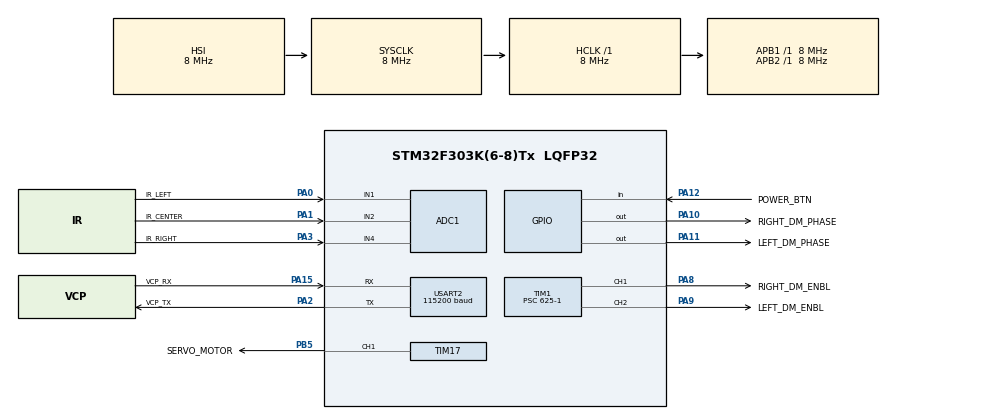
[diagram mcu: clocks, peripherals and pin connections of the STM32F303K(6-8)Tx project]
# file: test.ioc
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ADC1.Channel-0\#ChannelRegularConversion=ADC_CHANNEL_1
ADC1.ClockPrescaler=ADC_CLOCK_SYNC_PCLK_DIV1
ADC1.NbrOfConversionFlag=1
ADC1.Offset-0\#ChannelRegularConversion=0
ADC1.OffsetNumber-0\#ChannelRegularConversion=ADC_OFFSET_NONE
ADC1.Rank-0\#ChannelRegularConversion=1
ADC1.SamplingTime-0\#ChannelRegularConversion=ADC_SAMPLETIME_1CYCLE_5
ADC1.SubFamily=STM32F303x8
ADC1.master=1
Mcu.Family=STM32F3
Mcu.Name=STM32F303K(6-8)Tx
Mcu.Package=LQFP32
NVIC.PriorityGroup=NVIC_PRIORITYGROUP_4
PA0.GPIO_Label=IR_LEFT
PA0.Mode=IN1-Single-Ended
PA0.Signal=ADC1_IN1
PA1.GPIO_Label=IR_CENTER
PA1.Mode=IN2-Single-Ended
PA1.Signal=ADC1_IN2
PA10.GPIO_Label=RIGHT_DM_PHASE
PA10.Signal=GPIO_Output
PA11.GPIO_Label=LEFT_DM_PHASE
PA11.Signal=GPIO_Output
PA12.GPIO_Label=POWER_BTN
PA12.GPIO_PuPd=GPIO_PULLDOWN
PA12.Signal=GPIO_Input
PA13.GPIO_Label=SWDIO
PA13.Mode=Serial_Wire
PA13.Signal=SYS_JTMS-SWDIO
PA14.GPIO_Label=SWCLK
PA14.Mode=Serial_Wire
PA14.Signal=SYS_JTCK-SWCLK
PA15.GPIO_Label=VCP_RX
PA15.Mode=Asynchronous
PA15.Signal=USART2_RX
PA2.GPIO_Label=VCP_TX
PA2.Mode=Asynchronous
PA2.Signal=USART2_TX
PA3.GPIO_Label=IR_RIGHT
PA3.Mode=IN4-Single-Ended
PA3.Signal=ADC1_IN4
PA8.GPIO_Label=RIGHT_DM_ENBL
PA8.Signal=S_TIM1_CH1
PA9.GPIO_Label=LEFT_DM_ENBL
PA9.Signal=S_TIM1_CH2
PB5.GPIO_Label=SERVO_MOTOR
PB5.Signal=S_TIM17_CH1
ProjectManager.HeapSize=0x200
ProjectManager.StackSize=0x400
ProjectManager.TargetToolchain=STM32CubeIDE
RCC.AHBFreq_Value=8000000
RCC.APB1Freq_Value=8000000
RCC.APB2Freq_Value=8000000
RCC.CortexFreq_Value=8000000
RCC.HSE_VALUE=8000000
RCC.HSI_VALUE=8000000
RCC.SYSCLKFreq_VALUE=8000000
SH.S_TIM17_CH1.0=TIM17_CH1,PWM Generation1 CH1
SH.S_TIM1_CH1.0=TIM1_CH1,PWM Generation1 CH1
SH.S_TIM1_CH2.0=TIM1_CH2,PWM Generation2 CH2
TIM1.AutoReloadPreload=TIM_AUTORELOAD_PRELOAD_ENABLE
TIM1.Channel-PWM\ Generation1\ CH1=TIM_CHANNEL_1
TIM1.Channel-PWM\ Generation2\ CH2=TIM_CHANNEL_2
TIM1.Period=256-1
TIM1.Prescaler=625-1
TIM17.AutoReloadPreload=TIM_AUTORELOAD_PRELOAD_ENABLE
TIM17.Channel=TIM_CHANNEL_1
TIM17.OCMode_PWM=TIM_OCMODE_PWM1
TIM17.Period=20000-1
TIM17.Prescaler=8-1
USART2.BaudRate=115200
USART2.VirtualMode-Asynchronous=VM_ASYNC
VP_TIM17_VS_ClockSourceINT.Mode=Enable_Timer
VP_TIM1_VS_ClockSourceINT.Mode=Internal
board=NUCLEO-F303K8

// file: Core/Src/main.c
/* USER CODE BEGIN Header */
/**
  ******************************************************************************
  * @file           : main.c
  * @brief          : Main program body
  ******************************************************************************
  * @attention
  *
  * Copyright (c) 2022 STMicroelectronics.
  * All rights reserved.
  *
  * This software is licensed under terms that can be found in the LICENSE file
  * in the root directory of this software component.
  * If no LICENSE file comes with this software, it is provided AS-IS.
  *
  ******************************************************************************
  */
/* USER CODE END Header */
#include "main.h"

/* USER CODE BEGIN Includes */
#include <math.h>

/* USER CODE END Includes */

/* USER CODE BEGIN PD */
#define DISTANCE_MAX          150
#define DISTANCE_MIN          10
#define DISTANCE_THRESHOLD    10
#define MAX_SPEED             255
#define MIN_SPEED             125

/* USER CODE END PD */

 ADC_HandleTypeDef hadc1;

TIM_HandleTypeDef htim1;
TIM_HandleTypeDef htim17;

UART_HandleTypeDef huart2;

/* USER CODE BEGIN PV */

int block = 0;
int byteStream = 0;
int buttonState = 0;

int delay = 0;

/* USER CODE END PV */

void SystemClock_Config(void);
static void MX_GPIO_Init(void);
static void MX_USART2_UART_Init(void);
static void MX_TIM1_Init(void);
static void MX_ADC1_Init(void);
static void MX_TIM17_Init(void);
/* USER CODE BEGIN PFP */

static void setInitialState();
static void setMotorSpeed(int32_t left, int32_t right);

/* USER CODE END PFP */

/* USER CODE BEGIN 0 */

/*
 * Toggle Robot Start Button
 */
int togglePowerBtn(int powerBtnState) {
	if (powerBtnState) {
		block = 0;
		if (!byteStream && buttonState) {
		  byteStream = 1;
		  buttonState = 0;
		  return buttonState;
		} else if (!byteStream && !buttonState) {
		  byteStream = 1;
		  buttonState = 1;
		  return buttonState;
		} else {
		  return buttonState;
		}
	} else {
		byteStream = 0;
		return buttonState;
	}
}

/*
 * Read IR sensor value:
 * Update ADC channel config
 * Start, convert and read sensor value
 */
uint16_t ADC_Read(ADC_HandleTypeDef* hadc, uint8_t channel)
{
  ADC_ChannelConfTypeDef sConfig;

  sConfig.Channel = channel;
  sConfig.Rank = 1;
  sConfig.SamplingTime = ADC_SAMPLETIME_1CYCLE_5;

  HAL_ADC_ConfigChannel(hadc, &sConfig);

  HAL_ADC_Start(hadc);
  HAL_ADC_PollForConversion(hadc, 10);

  uint64_t sum = 0;
  for (int i = 0; i < 3; i++) {
  	sum+= HAL_ADC_GetValue(hadc);
  }

  sum = sum / 3;

  return sum;
}

/*
 * Set Initial State:
 * Set speed to highest settings
 */
void setInitialState()
{
	HAL_Delay(5000);
	setMotorSpeed(-255, -255);
	HAL_Delay(2000);
}

/*
 * Get Distance:
 * Map ADC values to distance (in cm).
 * First we transform analog output to voltage values
 *
 * Then based on the IR sensor datasheet graph, we determine
 * an equation to get accurate distance levels in centimeters.
 */

float getDistance(float adcVal)
{
  float voltageVal = (3.3 * adcVal) / 4096;

  float max_distance = DISTANCE_MAX;
  float min_distance = DISTANCE_MIN;

  float distance = 23.4993 / powf(voltageVal, 1.7);

  distance -= DISTANCE_THRESHOLD;

  if(distance >= DISTANCE_MAX) {
	  return max_distance;
  } else if(distance <= DISTANCE_MIN) {
	  return min_distance;
  } else {
	  return distance;
  }
}

/*
 * Calculate Motor Speed:
 * Given an angle, map to motor values within
 * the range 0 -> 255 where 0 is 10 and 255 is SPEED_LIMIT
 *
 * Formular:
 * https://stackoverflow.com/questions/5731863/mapping-a-numeric-range-onto-another
 * (output_end - output_start) / (input_end - input_start)
 */
float calcMotorSpeed(float dist_diff) {
	float speed = MIN_SPEED + ((dist_diff / (DISTANCE_MAX - DISTANCE_MIN)) * (MAX_SPEED - MIN_SPEED));

	if(speed <= MIN_SPEED) {
		return MIN_SPEED;
	} else if (speed >= MAX_SPEED) {
		return MAX_SPEED;
	} else {
		return speed;
	}
}

/*
 * Steer Boat:
 * Get turn amount by comparing the difference
 * between left and right distance.
 *
 * if turn amount is positive, the boat needs to turn left
 * if turn amount is negative, the boat needs to turn right
 * Constraint: 0 <= turn_amount <= 140
 */

void steerBoat(float left_dist, float front_dist, float right_dist)
{
	float dist_diff = left_dist - right_dist;

	if(front_dist > 100) {
		setMotorSpeed(-MAX_SPEED, -MAX_SPEED);
	} else {
		if(dist_diff < -DISTANCE_THRESHOLD) { // Left Turn
			HAL_Delay(100);
			setMotorSpeed(-50, 100);
		} else if(dist_diff > DISTANCE_THRESHOLD) {// Right Turn
			HAL_Delay(100);
			setMotorSpeed(100, -50);
		} else {
			setMotorSpeed(-MAX_SPEED, -MAX_SPEED);
		}
	}
}

/*
 * Set Motor Speed:
 *
 */
void setMotorSpeed(int32_t left, int32_t right) {
	if (left > 0)
	{
		__HAL_TIM_SET_COMPARE(&htim1, TIM_CHANNEL_2, -1 * left);
		HAL_GPIO_WritePin(LEFT_DM_PHASE_GPIO_Port, LEFT_DM_PHASE_Pin, 1);
	}
	else
	{
		__HAL_TIM_SET_COMPARE(&htim1, TIM_CHANNEL_2, left);
		HAL_GPIO_WritePin(LEFT_DM_PHASE_GPIO_Port, LEFT_DM_PHASE_Pin, 0);
	}

	if (right > 0)
	{
		__HAL_TIM_SET_COMPARE(&htim1, TIM_CHANNEL_1, -1 * right);
		HAL_GPIO_WritePin(RIGHT_DM_PHASE_GPIO_Port, RIGHT_DM_PHASE_Pin, 0);
	}
	else
	{
		__HAL_TIM_SET_COMPARE(&htim1, TIM_CHANNEL_1, right);
		HAL_GPIO_WritePin(RIGHT_DM_PHASE_GPIO_Port, RIGHT_DM_PHASE_Pin, 1);
	}
}

/* USER CODE END 0 */

int main(void)
{

  /* MCU Configuration--------------------------------------------------------*/

  /* Reset of all peripherals, Initializes the Flash interface and the Systick. */
  HAL_Init();

  /* Configure the system clock */
  SystemClock_Config();

  /* Initialize all configured peripherals */
  MX_GPIO_Init();
  MX_USART2_UART_Init();
  MX_TIM1_Init();
  MX_ADC1_Init();
  MX_TIM17_Init();
  /* USER CODE BEGIN 2 */

  uint8_t powerBtnState;

  float left_dist, front_dist, right_dist;

  float left_stored_dist = 0;
  float right_stored_dist = 0;

  HAL_TIM_Base_Start(&htim1);
  HAL_TIM_Base_Start(&htim17);

  HAL_TIM_PWM_Start(&htim1, TIM_CHANNEL_1);
  HAL_TIM_PWM_Start(&htim1, TIM_CHANNEL_2);
  HAL_TIM_PWM_Start(&htim17, TIM_CHANNEL_1);

  /* USER CODE END 2 */

  /* Infinite loop */
  /* USER CODE BEGIN WHILE */
  while (1)
  {
		powerBtnState = HAL_GPIO_ReadPin(POWER_BTN_GPIO_Port, POWER_BTN_Pin);

		if(togglePowerBtn(powerBtnState) == 0 && delay == 1) {
			delay = 0;
		}

		if (togglePowerBtn(powerBtnState) == 1) {

			if(delay == 0) {
				setInitialState();
				left_stored_dist = 0;
				right_stored_dist = 0;
				delay = 1;
			 }

			left_dist = getDistance(ADC_Read(&hadc1, ADC_CHANNEL_1));
			front_dist = getDistance(ADC_Read(&hadc1, ADC_CHANNEL_2));
			right_dist = getDistance(ADC_Read(&hadc1, ADC_CHANNEL_4));

			// Store distance values to know which turn position to favor
			if(left_stored_dist > 0 && right_stored_dist > 0) {
				left_stored_dist += left_dist;
				right_stored_dist += right_dist;

				left_stored_dist /= 2;
				right_stored_dist /= 2;
			} else {
				left_stored_dist = left_dist;
				right_stored_dist = right_dist;
			}

			if(front_dist < 15) {
				setMotorSpeed(MAX_SPEED, MAX_SPEED);
				HAL_Delay(1000);

				if(left_stored_dist < right_stored_dist) {
					setMotorSpeed(-MAX_SPEED, MAX_SPEED);
				} else if(left_stored_dist > right_stored_dist) {
					setMotorSpeed(MAX_SPEED, -MAX_SPEED);
				}

				HAL_Delay(300);
			} else {
				steerBoat(left_dist, front_dist, right_dist);
			}

		} else {
			setMotorSpeed(0, 0);
		}
    /* USER CODE END WHILE */

  }
}

void SystemClock_Config(void)
{
  RCC_OscInitTypeDef RCC_OscInitStruct = {0};
  RCC_ClkInitTypeDef RCC_ClkInitStruct = {0};
  RCC_PeriphCLKInitTypeDef PeriphClkInit = {0};

  /** Initializes the RCC Oscillators according to the specified parameters
  * in the RCC_OscInitTypeDef structure.
  */
  RCC_OscInitStruct.OscillatorType = RCC_OSCILLATORTYPE_HSI;
  RCC_OscInitStruct.HSIState = RCC_HSI_ON;
  RCC_OscInitStruct.HSICalibrationValue = RCC_HSICALIBRATION_DEFAULT;
  RCC_OscInitStruct.PLL.PLLState = RCC_PLL_NONE;
  if (HAL_RCC_OscConfig(&RCC_OscInitStruct) != HAL_OK)
  {
    Error_Handler();
  }

  /** Initializes the CPU, AHB and APB buses clocks
  */
  RCC_ClkInitStruct.ClockType = RCC_CLOCKTYPE_HCLK|RCC_CLOCKTYPE_SYSCLK
                              |RCC_CLOCKTYPE_PCLK1|RCC_CLOCKTYPE_PCLK2;
  RCC_ClkInitStruct.SYSCLKSource = RCC_SYSCLKSOURCE_HSI;
  RCC_ClkInitStruct.AHBCLKDivider = RCC_SYSCLK_DIV1;
  RCC_ClkInitStruct.APB1CLKDivider = RCC_HCLK_DIV1;
  RCC_ClkInitStruct.APB2CLKDivider = RCC_HCLK_DIV1;

  if (HAL_RCC_ClockConfig(&RCC_ClkInitStruct, FLASH_LATENCY_0) != HAL_OK)
  {
    Error_Handler();
  }
  PeriphClkInit.PeriphClockSelection = RCC_PERIPHCLK_TIM1;
  PeriphClkInit.Tim1ClockSelection = RCC_TIM1CLK_HCLK;
  if (HAL_RCCEx_PeriphCLKConfig(&PeriphClkInit) != HAL_OK)
  {
    Error_Handler();
  }
}

static void MX_ADC1_Init(void)
{

  ADC_MultiModeTypeDef multimode = {0};
  ADC_ChannelConfTypeDef sConfig = {0};

  /** Common config
  */
  hadc1.Instance = ADC1;
  hadc1.Init.ClockPrescaler = ADC_CLOCK_SYNC_PCLK_DIV1;
  hadc1.Init.Resolution = ADC_RESOLUTION_12B;
  hadc1.Init.ScanConvMode = ADC_SCAN_DISABLE;
  hadc1.Init.ContinuousConvMode = DISABLE;
  hadc1.Init.DiscontinuousConvMode = DISABLE;
  hadc1.Init.ExternalTrigConvEdge = ADC_EXTERNALTRIGCONVEDGE_NONE;
  hadc1.Init.ExternalTrigConv = ADC_SOFTWARE_START;
  hadc1.Init.DataAlign = ADC_DATAALIGN_RIGHT;
  hadc1.Init.NbrOfConversion = 1;
  hadc1.Init.DMAContinuousRequests = DISABLE;
  hadc1.Init.EOCSelection = ADC_EOC_SINGLE_CONV;
  hadc1.Init.LowPowerAutoWait = DISABLE;
  hadc1.Init.Overrun = ADC_OVR_DATA_OVERWRITTEN;
  if (HAL_ADC_Init(&hadc1) != HAL_OK)
  {
    Error_Handler();
  }

  /** Configure the ADC multi-mode
  */
  multimode.Mode = ADC_MODE_INDEPENDENT;
  if (HAL_ADCEx_MultiModeConfigChannel(&hadc1, &multimode) != HAL_OK)
  {
    Error_Handler();
  }

  /** Configure Regular Channel
  */
  sConfig.Channel = ADC_CHANNEL_1;
  sConfig.Rank = ADC_REGULAR_RANK_1;
  sConfig.SingleDiff = ADC_SINGLE_ENDED;
  sConfig.SamplingTime = ADC_SAMPLETIME_1CYCLE_5;
  sConfig.OffsetNumber = ADC_OFFSET_NONE;
  sConfig.Offset = 0;
  if (HAL_ADC_ConfigChannel(&hadc1, &sConfig) != HAL_OK)
  {
    Error_Handler();
  }

}

static void MX_TIM1_Init(void)
{

  TIM_ClockConfigTypeDef sClockSourceConfig = {0};
  TIM_MasterConfigTypeDef sMasterConfig = {0};
  TIM_OC_InitTypeDef sConfigOC = {0};
  TIM_BreakDeadTimeConfigTypeDef sBreakDeadTimeConfig = {0};

  htim1.Instance = TIM1;
  htim1.Init.Prescaler = 625-1;
  htim1.Init.CounterMode = TIM_COUNTERMODE_UP;
  htim1.Init.Period = 256-1;
  htim1.Init.ClockDivision = TIM_CLOCKDIVISION_DIV1;
  htim1.Init.RepetitionCounter = 0;
  htim1.Init.AutoReloadPreload = TIM_AUTORELOAD_PRELOAD_ENABLE;
  if (HAL_TIM_Base_Init(&htim1) != HAL_OK)
  {
    Error_Handler();
  }
  sClockSourceConfig.ClockSource = TIM_CLOCKSOURCE_INTERNAL;
  if (HAL_TIM_ConfigClockSource(&htim1, &sClockSourceConfig) != HAL_OK)
  {
    Error_Handler();
  }
  if (HAL_TIM_PWM_Init(&htim1) != HAL_OK)
  {
    Error_Handler();
  }
  sMasterConfig.MasterOutputTrigger = TIM_TRGO_RESET;
  sMasterConfig.MasterOutputTrigger2 = TIM_TRGO2_RESET;
  sMasterConfig.MasterSlaveMode = TIM_MASTERSLAVEMODE_DISABLE;
  if (HAL_TIMEx_MasterConfigSynchronization(&htim1, &sMasterConfig) != HAL_OK)
  {
    Error_Handler();
  }
  sConfigOC.OCMode = TIM_OCMODE_PWM1;
  sConfigOC.Pulse = 0;
  sConfigOC.OCPolarity = TIM_OCPOLARITY_HIGH;
  sConfigOC.OCNPolarity = TIM_OCNPOLARITY_HIGH;
  sConfigOC.OCFastMode = TIM_OCFAST_DISABLE;
  sConfigOC.OCIdleState = TIM_OCIDLESTATE_RESET;
  sConfigOC.OCNIdleState = TIM_OCNIDLESTATE_RESET;
  if (HAL_TIM_PWM_ConfigChannel(&htim1, &sConfigOC, TIM_CHANNEL_1) != HAL_OK)
  {
    Error_Handler();
  }
  if (HAL_TIM_PWM_ConfigChannel(&htim1, &sConfigOC, TIM_CHANNEL_2) != HAL_OK)
  {
    Error_Handler();
  }
  sBreakDeadTimeConfig.OffStateRunMode = TIM_OSSR_DISABLE;
  sBreakDeadTimeConfig.OffStateIDLEMode = TIM_OSSI_DISABLE;
  sBreakDeadTimeConfig.LockLevel = TIM_LOCKLEVEL_OFF;
  sBreakDeadTimeConfig.DeadTime = 0;
  sBreakDeadTimeConfig.BreakState = TIM_BREAK_DISABLE;
  sBreakDeadTimeConfig.BreakPolarity = TIM_BREAKPOLARITY_HIGH;
  sBreakDeadTimeConfig.BreakFilter = 0;
  sBreakDeadTimeConfig.Break2State = TIM_BREAK2_DISABLE;
  sBreakDeadTimeConfig.Break2Polarity = TIM_BREAK2POLARITY_HIGH;
  sBreakDeadTimeConfig.Break2Filter = 0;
  sBreakDeadTimeConfig.AutomaticOutput = TIM_AUTOMATICOUTPUT_DISABLE;
  if (HAL_TIMEx_ConfigBreakDeadTime(&htim1, &sBreakDeadTimeConfig) != HAL_OK)
  {
    Error_Handler();
  }
  HAL_TIM_MspPostInit(&htim1);

}

static void MX_TIM17_Init(void)
{

  TIM_OC_InitTypeDef sConfigOC = {0};
  TIM_BreakDeadTimeConfigTypeDef sBreakDeadTimeConfig = {0};

  htim17.Instance = TIM17;
  htim17.Init.Prescaler = 8-1;
  htim17.Init.CounterMode = TIM_COUNTERMODE_UP;
  htim17.Init.Period = 20000-1;
  htim17.Init.ClockDivision = TIM_CLOCKDIVISION_DIV1;
  htim17.Init.RepetitionCounter = 0;
  htim17.Init.AutoReloadPreload = TIM_AUTORELOAD_PRELOAD_ENABLE;
  if (HAL_TIM_Base_Init(&htim17) != HAL_OK)
  {
    Error_Handler();
  }
  if (HAL_TIM_PWM_Init(&htim17) != HAL_OK)
  {
    Error_Handler();
  }
  sConfigOC.OCMode = TIM_OCMODE_PWM1;
  sConfigOC.Pulse = 0;
  sConfigOC.OCPolarity = TIM_OCPOLARITY_HIGH;
  sConfigOC.OCNPolarity = TIM_OCNPOLARITY_HIGH;
  sConfigOC.OCFastMode = TIM_OCFAST_DISABLE;
  sConfigOC.OCIdleState = TIM_OCIDLESTATE_RESET;
  sConfigOC.OCNIdleState = TIM_OCNIDLESTATE_RESET;
  if (HAL_TIM_PWM_ConfigChannel(&htim17, &sConfigOC, TIM_CHANNEL_1) != HAL_OK)
  {
    Error_Handler();
  }
  sBreakDeadTimeConfig.OffStateRunMode = TIM_OSSR_DISABLE;
  sBreakDeadTimeConfig.OffStateIDLEMode = TIM_OSSI_DISABLE;
  sBreakDeadTimeConfig.LockLevel = TIM_LOCKLEVEL_OFF;
  sBreakDeadTimeConfig.DeadTime = 0;
  sBreakDeadTimeConfig.BreakState = TIM_BREAK_DISABLE;
  sBreakDeadTimeConfig.BreakPolarity = TIM_BREAKPOLARITY_HIGH;
  sBreakDeadTimeConfig.BreakFilter = 0;
  sBreakDeadTimeConfig.AutomaticOutput = TIM_AUTOMATICOUTPUT_DISABLE;
  if (HAL_TIMEx_ConfigBreakDeadTime(&htim17, &sBreakDeadTimeConfig) != HAL_OK)
  {
    Error_Handler();
  }
  HAL_TIM_MspPostInit(&htim17);

}

static void MX_USART2_UART_Init(void)
{

  huart2.Instance = USART2;
  huart2.Init.BaudRate = 115200;
  huart2.Init.WordLength = UART_WORDLENGTH_8B;
  huart2.Init.StopBits = UART_STOPBITS_1;
  huart2.Init.Parity = UART_PARITY_NONE;
  huart2.Init.Mode = UART_MODE_TX_RX;
  huart2.Init.HwFlowCtl = UART_HWCONTROL_NONE;
  huart2.Init.OverSampling = UART_OVERSAMPLING_16;
  huart2.Init.OneBitSampling = UART_ONE_BIT_SAMPLE_DISABLE;
  huart2.AdvancedInit.AdvFeatureInit = UART_ADVFEATURE_NO_INIT;
  if (HAL_UART_Init(&huart2) != HAL_OK)
  {
    Error_Handler();
  }

}

static void MX_GPIO_Init(void)
{
  GPIO_InitTypeDef GPIO_InitStruct = {0};

  /* GPIO Ports Clock Enable */
  __HAL_RCC_GPIOA_CLK_ENABLE();
  __HAL_RCC_GPIOB_CLK_ENABLE();

  /*Configure GPIO pin Output Level */
  HAL_GPIO_WritePin(GPIOA, RIGHT_DM_PHASE_Pin|LEFT_DM_PHASE_Pin, GPIO_PIN_RESET);

  /*Configure GPIO pins : RIGHT_DM_PHASE_Pin LEFT_DM_PHASE_Pin */
  GPIO_InitStruct.Pin = RIGHT_DM_PHASE_Pin|LEFT_DM_PHASE_Pin;
  GPIO_InitStruct.Mode = GPIO_MODE_OUTPUT_PP;
  GPIO_InitStruct.Pull = GPIO_NOPULL;
  GPIO_InitStruct.Speed = GPIO_SPEED_FREQ_LOW;
  HAL_GPIO_Init(GPIOA, &GPIO_InitStruct);

  /*Configure GPIO pin : POWER_BTN_Pin */
  GPIO_InitStruct.Pin = POWER_BTN_Pin;
  GPIO_InitStruct.Mode = GPIO_MODE_INPUT;
  GPIO_InitStruct.Pull = GPIO_PULLDOWN;
  HAL_GPIO_Init(POWER_BTN_GPIO_Port, &GPIO_InitStruct);

}

void Error_Handler(void)
{
  __disable_irq();
  while (1)
  {
  }
}
